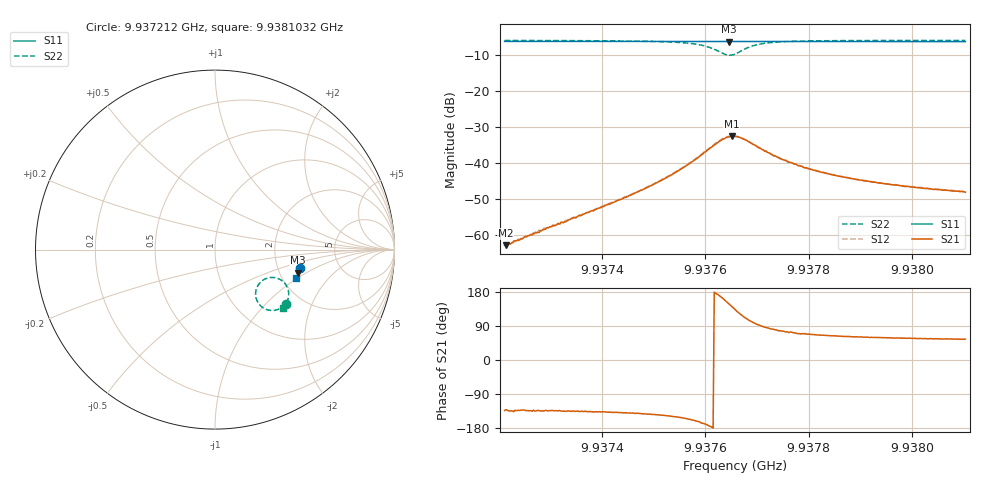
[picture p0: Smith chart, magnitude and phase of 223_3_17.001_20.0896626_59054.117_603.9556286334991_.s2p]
#  HZ  S  RI  R  50.00
! Rohde & Schwarz Vector Network Analyzer
! Rohde-Schwarz,ZNB20-2Port,1311601062101988,3.16
! Created: UTC 3/20/2024, 11:02:04 PM
! freq[Hz]  re:S11  im:S11  re:S21  im:S21  re:S12  im:S12  re:S22  im:S22
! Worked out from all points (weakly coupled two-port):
!   401 points, 9.937212 GHz to 9.9381032 GHz, reference 50 ohm
!   highest |S21| = -32.57 dB at 9.9376509 GHz (marker M1); lowest = -62.8 dB at 9.9372142 GHz (marker M2)
!   lowest |S11| = -6.4 dB at 9.9376465 GHz (marker M3), VSWR 2.84, Z = 126 - j42 ohm
!   |S11| at or under -10 dB: nowhere
!   |S22| runs from -10.1 to -6.1 dB; largest |S21 - S12| = 0.001
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9.93721202e9  0.4732 -0.1009  -0.000505 -0.000535  -0.000508 -0.000497  0.3936 -0.3048
9.93721425e9  0.4732 -0.1011  -0.000477 -0.000547  -0.000521 -0.000531  0.3938 -0.305
9.93729223e9  0.4716 -0.1065  -0.000842 -0.000905  -0.00089 -0.000892  0.3866 -0.3114
9.93731451e9  0.4712 -0.1078  -0.00102 -0.00104  -0.000996 -0.00102  0.3844 -0.3133
9.9373613e9  0.4702 -0.1111  -0.00135 -0.00134  -0.00141 -0.00134  0.3789 -0.3179
9.93745264e9  0.4681 -0.1172  -0.00272 -0.00231  -0.00278 -0.00227  0.3628 -0.3281
9.93751057e9  0.4669 -0.1211  -0.00458 -0.0032  -0.00464 -0.00316  0.3442 -0.3355
9.93755513e9  0.4655 -0.1242  -0.0075 -0.00388  -0.00771 -0.00384  0.3176 -0.3392
9.93759746e9  0.4638 -0.1271  -0.0136 -0.00296  -0.014 -0.00268  0.2687 -0.3248
9.93761306e9  0.4629 -0.128  -0.0168 -0.000759  -0.0172 -0.000251  0.2444 -0.3022
9.93762865e9  0.4622 -0.1285  -0.0199 0.00414  -0.0201 0.00478  0.2271 -0.2599
9.93764648e9  0.4616 -0.1286  -0.0195 0.0124  -0.0194 0.0133  0.2427 -0.1947
9.93765093e9  0.4617 -0.1286  -0.0185 0.0145  -0.0182 0.0154  0.2548 -0.1806
9.93765762e9  0.4619 -0.1287  -0.0161 0.017  -0.0156 0.0178  0.2772 -0.1647
9.93766876e9  0.4621 -0.1291  -0.0111 0.0193  -0.0107 0.0199  0.3185 -0.1551
9.93768435e9  0.4623 -0.13  -0.00514 0.0191  -0.00476 0.0193  0.3646 -0.1674
9.93771109e9  0.4625 -0.1321  0.000366 0.0154  0.000771 0.0154  0.4009 -0.2064
9.93775565e9  0.4618 -0.1354  0.00304 0.0105  0.00304 0.0104  0.4107 -0.2506
9.93780689e9  0.4608 -0.1392  0.00316 0.00747  0.0033 0.00746  0.4066 -0.2766
9.9378715e9  0.4593 -0.1436  0.00295 0.0056  0.00307 0.00561  0.3991 -0.294
9.93795616e9  0.4572 -0.1493  0.00265 0.00436  0.00275 0.00429  0.3909 -0.3078
9.93810321e9  0.4533 -0.1585  0.00228 0.00324  0.00235 0.00328  0.3794 -0.3227
